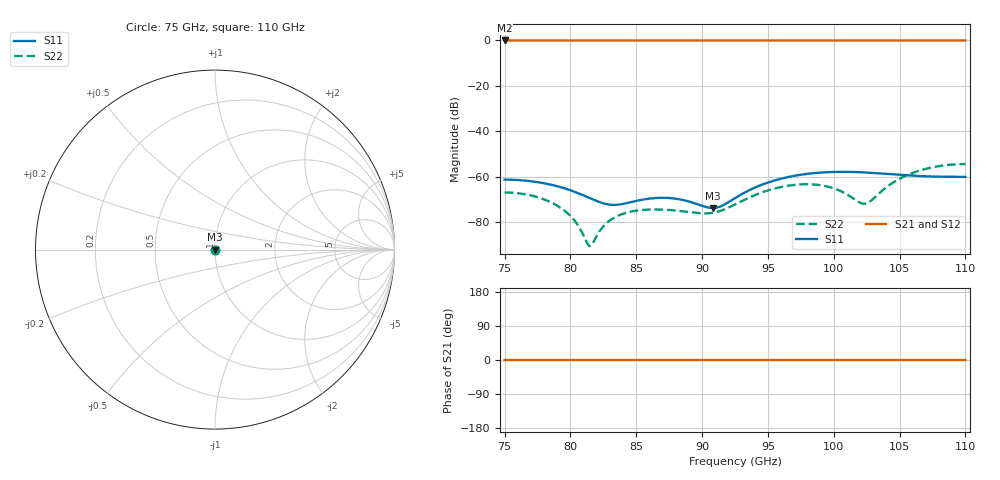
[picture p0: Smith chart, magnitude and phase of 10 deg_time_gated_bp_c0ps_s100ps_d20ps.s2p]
# Hz S RI R 50.000000
! Metas.Vna.Tools, 2.4.7724.19584
! Metas.Vna.Data, 2.4.7724.19560
! Created: UTC 2021.04.29 12:40:10
! FREQ  re:S1,1  im:S1,1  re:S2,1  im:S2,1  re:S1,2  im:S1,2  re:S2,2  im:S2,2
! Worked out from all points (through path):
!   1401 points, 75 GHz to 110 GHz, reference 50 ohm
!   highest |S21| = 0.00 dB at 75 GHz (marker M1); lowest = 0.0 dB at 75 GHz (marker M2)
!   lowest |S11| = -73.9 dB at 90.8 GHz (marker M3), VSWR 1.00, Z = 50 - j0.000738 ohm
!   |S11| at or under -10 dB: start of sweep to end of sweep
!   |S22| runs from -90.7 to -54.5 dB; largest |S21 - S12| = 3.5e-16
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7.5e10  -0.000509 -0.000686  1 2.33e-16  1 1.55e-16  -0.000248 0.000369
7.6575e10  -0.000499 -0.000642  1 3.4e-17  1 8.95e-17  -0.000222 0.000339
7.8025e10  -0.00047 -0.00053  1 -1.4e-16  1 5.39e-17  -0.000159 0.000267
7.93e10  -0.000428 -0.000388  1 1.69e-16  1 1.69e-16  -8.75e-05 0.00018
8.04e10  -0.000379 -0.000245  1 -7.92e-17  1 -7.92e-17  -2.57e-05 9.57e-05
8.085e10  -0.000356 -0.000183  1 -6.12e-17  1 -3.42e-17  -2.88e-06 6.13e-05
8.27e10  -0.00024 6.16e-05  1 1.97e-18  1 1.97e-18  6.3e-05 -6.62e-05
8.3175e10  -0.000206 0.000118  1 8.42e-17  1 1.36e-16  7.1e-05 -9.28e-05
8.465e10  -9.48e-05 0.000258  1 5.95e-17  1 9.89e-17  7.25e-05 -0.000154
8.6675e10  5.49e-05 0.000334  1 -1.59e-16  1 -1.41e-16  3.78e-05 -0.000184
8.8325e10  0.00015 0.000275  1 -1.45e-16  1 -3.43e-17  1.65e-05 -0.000173
9.08e10  0.000202 -7.37e-06  1 9.74e-17  1 9.74e-17  7.78e-05 -0.000138
9.1475e10  0.000192 -0.000115  1 -2.53e-16  1 -2.53e-16  0.000122 -0.00013
9.25e10  0.000156 -0.000294  1 5.09e-17  1 -1.16e-16  0.000209 -0.000123
9.5525e10  -8.3e-05 -0.000819  1 -2.05e-16  1 -3.11e-16  0.000532 -0.00012
9.835e10  -0.000404 -0.00111  1 -1.59e-16  1 -2.05e-16  0.000667 -7.23e-05
1.0015e11  -0.000601 -0.00111  1 -3.8e-16  1 -3.8e-16  0.00053 2.62e-05
1.023e11  -0.000785 -0.00095  1 5.98e-19  1 -1.66e-16  0.000103 0.000229
1.02775e11  -0.000817 -0.000894  1 1.1e-16  1 5.44e-17  -2.42e-05 0.000284
1.04175e11  -0.000889 -0.000704  1 -2.53e-16  1 -9.29e-17  -0.000438 0.000459
1.0675e11  -0.000956 -0.000351  1 -2.73e-16  1 -2.17e-16  -0.00119 0.000766
1.1e11  -0.000973 -0.000143  1 -1.37e-16  1 -1.38e-16  -0.00163 0.000943
